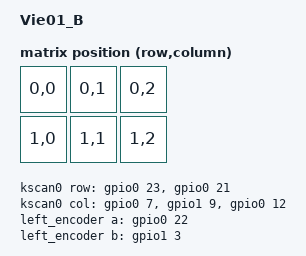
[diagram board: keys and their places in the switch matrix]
/*
 * Copyright (c) 2021 Nick Winans
 *
 * SPDX-License-Identifier: MIT
 */

/dts-v1/;
#include <nordic/nrf52840_qiaa.dtsi>
#include <dt-bindings/zmk/matrix_transform.h>
#include <dt-bindings/led/led.h>

/ {
	model = "Vie01_B";
	compatible = "vie01,b";

	chosen {
		zephyr,code-partition = &code_partition;
		zephyr,sram = &sram0;
		zephyr,flash = &flash0;
		zmk,kscan = &kscan0;
		zmk,matrix_transform = &default_transform;
        zmk,underglow = &led_strip;
	};

    sensors {
		compatible = "zmk,keymap-sensors";
		sensors = <&left_encoder>;
	};

	default_transform: keymap_transform_0 {
		compatible = "zmk,matrix-transform";
		columns = <3>;
		rows = <2>;
		map = <
                RC(0,0) RC(0,1) RC(0,2)
                RC(1,0) RC(1,1) RC(1,2)
		>;
	};

	kscan0: kscan {
		compatible = "zmk,kscan-gpio-matrix";
		label = "KSCAN";

		diode-direction = "col2row";
		row-gpios
			= <&gpio0 23 (GPIO_ACTIVE_HIGH | GPIO_PULL_DOWN)>
			, <&gpio0 21 (GPIO_ACTIVE_HIGH | GPIO_PULL_DOWN)>
			;
		col-gpios
			= <&gpio0 7  GPIO_ACTIVE_HIGH>
			, <&gpio1 9  GPIO_ACTIVE_HIGH>
			, <&gpio0 12 GPIO_ACTIVE_HIGH>
			;
	};

	ext-power {
		compatible = "zmk,ext-power-generic";
		label = "EXT_POWER";
		control-gpios = <&gpio0 4 GPIO_ACTIVE_HIGH>;
	};

    left_encoder: encoder_left {
        compatible = "alps,ec11";
        label = "LEFT_ENCODER";
        a-gpios = <&gpio0 22 (GPIO_ACTIVE_HIGH | GPIO_PULL_UP)>;
        b-gpios = <&gpio1 3  (GPIO_ACTIVE_HIGH | GPIO_PULL_UP)>;
        resolution = <4>;
    };

	vbatt {
		compatible = "zmk,battery-voltage-divider";
		label = "BATTERY";
		io-channels = <&adc 7>;
		output-ohms = <2000000>;
		full-ohms = <(2000000 + 806000)>;
	};
};

&adc {
	status = "okay";
};

&gpiote {
	status = "okay";
};

&gpio0 {
	status = "okay";
};

&gpio1 {
	status = "okay";
};

&usbd {
	status = "okay";
};

&spi1 {
    compatible = "nordic,nrf-spim";
    status = "okay";
    // WS2812B pinout (PX.Y = 32*X+Y)
    mosi-pin = <5>;
    // Unused pins, needed for SPI definition, but not used by the ws2812 driver itself.
    sck-pin = <42>;
    miso-pin = <43>;

    led_strip: ws2812@0 {
        compatible = "worldsemi,ws2812-spi";
        label = "WS2812";

        /* SPI */
        reg = <0>; /* ignored, but necessary for SPI bindings */
        spi-max-frequency = <4000000>;

        /* WS2812 */
        chain-length = <21>; /* number of LEDs */
        spi-one-frame = <0x70>;
        spi-zero-frame = <0x40>;
        color-mapping = <LED_COLOR_ID_GREEN LED_COLOR_ID_RED LED_COLOR_ID_BLUE>;
    };
};

&flash0 {
	/*
	 * For more information, see:
	 * http://docs.zephyrproject.org/latest/devices/dts/flash_partitions.html
	 */
	partitions {
		compatible = "fixed-partitions";
		#address-cells = <1>;
		#size-cells = <1>;

		sd_partition: partition@0 {
			label = "mbr";
			reg = <0x00000000 0x00001000>;
		};

		code_partition: partition@1000 {
			label = "code_partition";
			reg = <0x00001000 0x000d3000>;
		};

		/*
		 * The flash starting at 0x000d4000 and ending at
		 * 0x000f3fff is reserved for use by the application.
		 */

		/*
		 * Storage partition will be used by FCB/LittleFS/NVS
		 * if enabled.
		 */
		storage_partition: partition@d4000 {
			label = "storage";
			reg = <0x000d4000 0x00020000>;
		};

		boot_partition: partition@f4000 {
			label = "adafruit_boot";
			reg = <0x000f4000 0x0000c000>;
		};
	};
};
